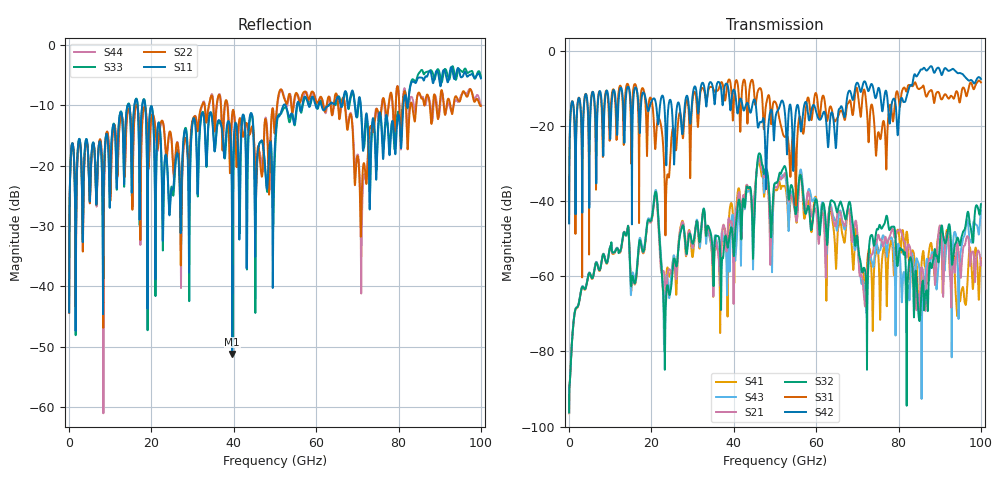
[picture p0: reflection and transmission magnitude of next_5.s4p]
# Hz S RI R 50
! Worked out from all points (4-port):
!   10000 points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, 10 MHz to 100 GHz, reference 50 ohm
!   strongest paths, dB at 10 MHz, 25.01 GHz, 50.01 GHz, 75.01 GHz, 100 GHz:
!     S42: -45.9, -16.0, -18.9, -10.1, -7.5
!     S31: -45.8, -21.6, -13.5, -21.9, -8.4
!     S32: -96.2, -60.4, -35.2, -47.5, -40.8
!     S21: -96.4, -59.6, -36.2, -49.0, -57.1
!     S43: -96.4, -57.7, -35.2, -53.7, -42.5
!     S41: -96.5, -58.0, -36.9, -52.9, -55.2
!   lowest |S11| = -51.2 dB at 39.63 GHz (marker M1), VSWR 1.01, Z = 50.1 + j0.258 ohm
!   |S11| at or under -10 dB: start of sweep to 14.23 GHz; 18.48 GHz to 52.09 GHz (33.61 GHz wide, 95.2 % of centre); 70.83 GHz to 81.2 GHz (10.37 GHz wide, 13.6 % of centre)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
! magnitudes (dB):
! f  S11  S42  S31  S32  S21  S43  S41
! 10 MHz  -44.3  -45.9  -45.8  -96.2  -96.4  -96.4  -96.5
! 20.96 GHz  -38.9  -13.3  -26.0  -37.6  -38.3  -37.1  -37.8
! 23.24 GHz  -19.1  -16.2  -36.9  -84.8  -60.7  -67.5  -70.7
! 39.63 GHz  -51.2  -11.5  -15.8  -48.2  -48.2  -43.7  -41.6
! 46.26 GHz  -16.2  -19.1  -9.9  -27.3  -28.9  -28.3  -30.1
! 85.05 GHz  -5.4  -5.7  -10.1  -71.8  -71.1  -57.8  -67.1
! 100 GHz  -5.6  -7.5  -8.4  -40.8  -57.1  -42.5  -55.2
